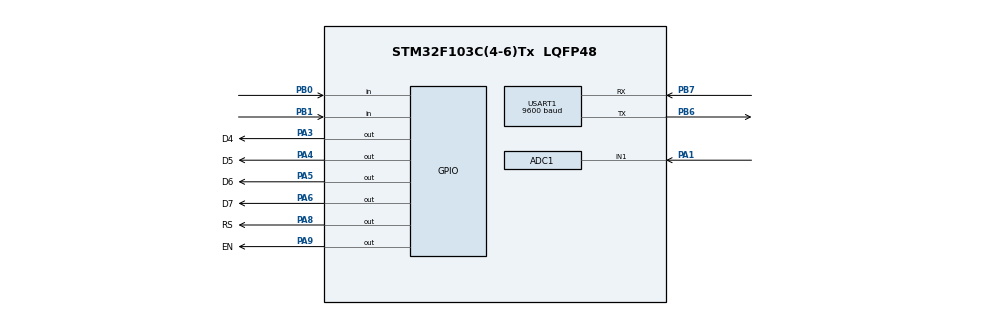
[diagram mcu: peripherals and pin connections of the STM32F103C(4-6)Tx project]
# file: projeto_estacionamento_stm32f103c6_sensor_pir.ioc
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ADC1.Channel-1\#ChannelRegularConversion=ADC_CHANNEL_1
ADC1.ContinuousConvMode=ENABLE
ADC1.NbrOfConversionFlag=1
ADC1.Rank-1\#ChannelRegularConversion=1
ADC1.SamplingTime-1\#ChannelRegularConversion=ADC_SAMPLETIME_1CYCLE_5
ADC1.master=1
Mcu.Family=STM32F1
Mcu.Name=STM32F103C(4-6)Tx
Mcu.Package=LQFP48
NVIC.PriorityGroup=NVIC_PRIORITYGROUP_4
PA1.Signal=ADCx_IN1
PA3.GPIO_Label=D4
PA3.Signal=GPIO_Output
PA4.GPIO_Label=D5
PA4.Signal=GPIO_Output
PA5.GPIO_Label=D6
PA5.Signal=GPIO_Output
PA6.GPIO_Label=D7
PA6.Signal=GPIO_Output
PA8.GPIO_Label=RS
PA8.Signal=GPIO_Output
PA9.GPIO_Label=EN
PA9.Signal=GPIO_Output
PB0.GPIO_PuPd=GPIO_NOPULL
PB0.Signal=GPIO_Input
PB1.GPIO_PuPd=GPIO_NOPULL
PB1.Signal=GPIO_Input
PB6.Mode=Asynchronous
PB6.Signal=USART1_TX
PB7.Mode=Asynchronous
PB7.Signal=USART1_RX
ProjectManager.HeapSize=0x200
ProjectManager.StackSize=0x400
ProjectManager.TargetToolchain=STM32CubeIDE
RCC.APB1Freq_Value=8000000
RCC.APB2Freq_Value=8000000
SH.ADCx_IN1.0=ADC1_IN1,IN1
USART1.BaudRate=9600
USART1.VirtualMode=VM_ASYNC
VP_SYS_VS_ND.Mode=No_Debug
board=custom

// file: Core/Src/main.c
/* USER CODE BEGIN Header */
/**
  ******************************************************************************
  * @file           : main.c
  * @brief          : Main program body
  ******************************************************************************
  * @attention
  *
  * <h2><center>&copy; Copyright (c) 2021 STMicroelectronics.
  * All rights reserved.</center></h2>
  *
  * This software component is licensed by ST under BSD 3-Clause license,
  * the "License"; You may not use this file except in compliance with the
  * License. You may obtain a copy of the License at:
  *                        opensource.org/licenses/BSD-3-Clause
  *
  ******************************************************************************
  */
/* USER CODE END Header */
#include "main.h"

/* USER CODE BEGIN Includes */

//INCLUSÃO DA BIBLIOTECA PARA UTILIZAÇÃO DO LCD 2X16
#include "lcd.h"
#include "stdio.h"

/* USER CODE END Includes */

//CRIANDO AS VARIÁVEIS PARA ACD E USART
ADC_HandleTypeDef hadc1;

UART_HandleTypeDef huart1;

void SystemClock_Config(void);
static void MX_GPIO_Init(void);
static void MX_ADC1_Init(void);
static void MX_USART1_UART_Init(void);

/* USER CODE BEGIN 0 */

// CRIANDO AS VARIÁVEIS DE TRABALHO
static int adc_buffer;
static char s_vagas[5];
static char temp[5];

/* USER CODE END 0 */

int main(void)
{

  /* MCU Configuration--------------------------------------------------------*/

  /* Reset of all peripherals, Initializes the Flash interface and the Systick. */
  HAL_Init();

  /* Configure the system clock */
  SystemClock_Config();

  /* Initialize all configured peripherals */
  MX_GPIO_Init();
  MX_ADC1_Init();
  MX_USART1_UART_Init();
  /* USER CODE BEGIN 2 */

  //INICIALIZANDO A VARIÁVEL COM O NÚMERO DE VAGAS
  int vagas = 5;

  //INICIALIZANDO O ACD
  HAL_ADC_Start(&hadc1);

  //CONFIGURADO AS GPIOs  -- GPIOA RENOMEADAS COM AS IDENTIFICAÇÕES DO LCD
  Lcd_PortType ports [] = {
		D4_GPIO_Port,
		D5_GPIO_Port,
		D6_GPIO_Port,
		D7_GPIO_Port
  };

  //CONFIGURADO OS PINOS DO LCD
  Lcd_PinType pins [] = {
		D4_Pin,
		D5_Pin,
		D6_Pin,
		D7_Pin
  };

  //CONFIGURADO OS PINOS DO LCD COM AS GPIOs
  Lcd_HandleTypeDef lcd = Lcd_create(ports, pins, RS_GPIO_Port, RS_Pin, EN_GPIO_Port, EN_Pin, LCD_4_BIT_MODE);

  //PARA IMPRIMIR NO LCD - PASSAR O ENDEREÇO DO OBJETO E A POSIÇÃO DO CURSOR
  Lcd_cursor(&lcd, 0, 0);
  Lcd_string(&lcd,"ESTACIONAMENTO");
  Lcd_cursor(&lcd, 1, 0);
  Lcd_string(&lcd,"DEDEL");
  HAL_Delay(50);
  Lcd_clear(&lcd);
  HAL_Delay(50);

  Lcd_cursor(&lcd, 0, 0);
  Lcd_string(&lcd,"SEJA");
  Lcd_cursor(&lcd, 1, 0);
  Lcd_string(&lcd,"BEM-VINDO");
  HAL_Delay(50);
  Lcd_clear(&lcd);
  HAL_Delay(50);

  /* USER CODE END 2 */

  /* Infinite loop */
  /* USER CODE BEGIN WHILE */
  while (1)
  {
	  if(((float)HAL_ADC_GetValue(&hadc1)/8.215)<=30){
		  if(vagas!=0){
			  //IMPRIMINDO O NÚMEROS DE VAGAS NO LCD
			  Lcd_cursor(&lcd, 0, 0);
			  Lcd_string(&lcd,"VAGAS");
			  Lcd_cursor(&lcd, 1, 0);
			  Lcd_string(&lcd,"DISPONIVEIS= ");
			  // Convertendo de inteiro para String
			  itoa(vagas, s_vagas, 10);
			  Lcd_cursor(&lcd, 1, 12);
			  Lcd_string(&lcd, s_vagas);
			  HAL_Delay(100);
			  Lcd_clear(&lcd);

			  //VERIFICANDO SE OCORREU ENTRADA DE VEÍCULOS
			  if(HAL_GPIO_ReadPin(GPIOB, GPIO_PIN_0)){
				  vagas--;
				  while(HAL_GPIO_ReadPin(GPIOB, GPIO_PIN_0)){
					 Lcd_cursor(&lcd, 0, 0);
					 Lcd_string(&lcd,"AGUARDE");
				 }
				 Lcd_clear(&lcd);
				 Lcd_cursor(&lcd, 0, 0);
				 Lcd_string(&lcd,"SIGA EM FRETE");
				 HAL_Delay(50);
				 Lcd_clear(&lcd);
			  }

			  //VERIFICANDO SE OCORREU SAÍDA DE VEÍCULOS
			  if(HAL_GPIO_ReadPin(GPIOB, GPIO_PIN_1)){
				  if(vagas<5){
					vagas++;
					while(HAL_GPIO_ReadPin(GPIOB, GPIO_PIN_1)){
						 Lcd_cursor(&lcd, 0, 0);
						 Lcd_string(&lcd,"AGUARDE");
					 }
					Lcd_clear(&lcd);
					Lcd_cursor(&lcd, 0, 0);
					Lcd_string(&lcd,"OBRIGADO");
					Lcd_cursor(&lcd, 1, 0);
					Lcd_string(&lcd,"VOLTE SEMPRE");
					HAL_Delay(50);
				  }
				  else{
					  Lcd_cursor(&lcd, 0, 0);
					  Lcd_string(&lcd,"DISPONIVEL");
					  HAL_Delay(100);
				  }
				  Lcd_clear(&lcd);
			  }

			  //Utilizando função HAL para coletar o valor de ACD
			  //O sensor LM35 envia valores entre 0 e 1023
			  //Portanto realizamos a conversão para o valor em graus dividindo por 8,125
			  adc_buffer = (float)HAL_ADC_GetValue(&hadc1)/8.215;

			  //ENVIADO DADOS ATRAVÉS DA USART
			  uint8_t CRLFbuff[] = " C\r\n";
			  uint8_t Tempbuff[] = "T: ";
			  HAL_UART_Transmit(&huart1, Tempbuff, 3, 0xFF);
			  HAL_UART_Transmit(&huart1, (uint8_t*)temp, sprintf(temp, "%d",adc_buffer ), 100);
			  HAL_UART_Transmit(&huart1, CRLFbuff, 3, 0xFF);

			  //IMPRIMINDO A TEMPERATURA NO LCD
			  Lcd_cursor(&lcd, 0, 0);
			  Lcd_string(&lcd,"TEMPERATURA");
			  Lcd_cursor(&lcd, 1, 0);
			  Lcd_string(&lcd,temp);
			  Lcd_cursor(&lcd, 1, 2);
			  Lcd_string(&lcd,"C");
			  HAL_Delay(50);
			  Lcd_clear(&lcd);
		  }
		  else{

			  //IMPRIMINDO A ESTACIONAMENTO LOTADO
			  Lcd_cursor(&lcd, 0, 0);
			  Lcd_string(&lcd,"ESTACIONAMENTO");
			  Lcd_cursor(&lcd, 1, 0);
			  Lcd_string(&lcd,"LOTADO");
			  HAL_Delay(50);
			  Lcd_clear(&lcd);

			  //VERIFICANDO SE OCORREU SAÍDA DE VEÍCULOS
			  if(HAL_GPIO_ReadPin(GPIOB, GPIO_PIN_1)){
				  if(vagas<5){
					vagas++;
					while(HAL_GPIO_ReadPin(GPIOB, GPIO_PIN_1)){
						 Lcd_cursor(&lcd, 0, 0);
						 Lcd_string(&lcd,"AGUARDE");
					 }
					Lcd_clear(&lcd);
					Lcd_cursor(&lcd, 0, 0);
					Lcd_string(&lcd,"OBRIGADO");
					Lcd_cursor(&lcd, 1, 0);
					Lcd_string(&lcd,"VOLTE SEMPRE");
					HAL_Delay(50);
				  }
				  else{
					  Lcd_cursor(&lcd, 0, 0);
					  Lcd_string(&lcd,"DISPONIVEL");
					  HAL_Delay(100);
				  }
				  Lcd_clear(&lcd);
			  }

		  }
	  }
	  else{
		  //IMPRIMINDO A INCENDIO
		  Lcd_cursor(&lcd, 0, 0);
		  Lcd_string(&lcd,"INCENDIO");
		  Lcd_cursor(&lcd, 1, 0);
		  Lcd_string(&lcd,"EVACUAR NOW!	");
		  HAL_Delay(50);
		  Lcd_clear(&lcd);
	  }

    /* USER CODE END WHILE */

  }
}

void SystemClock_Config(void)
{
  RCC_OscInitTypeDef RCC_OscInitStruct = {0};
  RCC_ClkInitTypeDef RCC_ClkInitStruct = {0};
  RCC_PeriphCLKInitTypeDef PeriphClkInit = {0};

  /** Initializes the RCC Oscillators according to the specified parameters
  * in the RCC_OscInitTypeDef structure.
  */
  RCC_OscInitStruct.OscillatorType = RCC_OSCILLATORTYPE_HSI;
  RCC_OscInitStruct.HSIState = RCC_HSI_ON;
  RCC_OscInitStruct.HSICalibrationValue = RCC_HSICALIBRATION_DEFAULT;
  RCC_OscInitStruct.PLL.PLLState = RCC_PLL_NONE;
  if (HAL_RCC_OscConfig(&RCC_OscInitStruct) != HAL_OK)
  {
    Error_Handler();
  }
  /** Initializes the CPU, AHB and APB buses clocks
  */
  RCC_ClkInitStruct.ClockType = RCC_CLOCKTYPE_HCLK|RCC_CLOCKTYPE_SYSCLK
                              |RCC_CLOCKTYPE_PCLK1|RCC_CLOCKTYPE_PCLK2;
  RCC_ClkInitStruct.SYSCLKSource = RCC_SYSCLKSOURCE_HSI;
  RCC_ClkInitStruct.AHBCLKDivider = RCC_SYSCLK_DIV1;
  RCC_ClkInitStruct.APB1CLKDivider = RCC_HCLK_DIV1;
  RCC_ClkInitStruct.APB2CLKDivider = RCC_HCLK_DIV1;

  if (HAL_RCC_ClockConfig(&RCC_ClkInitStruct, FLASH_LATENCY_0) != HAL_OK)
  {
    Error_Handler();
  }
  PeriphClkInit.PeriphClockSelection = RCC_PERIPHCLK_ADC;
  PeriphClkInit.AdcClockSelection = RCC_ADCPCLK2_DIV2;
  if (HAL_RCCEx_PeriphCLKConfig(&PeriphClkInit) != HAL_OK)
  {
    Error_Handler();
  }
}

static void MX_ADC1_Init(void)
{

  ADC_ChannelConfTypeDef sConfig = {0};

  /** Common config
  */
  hadc1.Instance = ADC1;
  hadc1.Init.ScanConvMode = ADC_SCAN_DISABLE;
  hadc1.Init.ContinuousConvMode = ENABLE;
  hadc1.Init.DiscontinuousConvMode = DISABLE;
  hadc1.Init.ExternalTrigConv = ADC_SOFTWARE_START;
  hadc1.Init.DataAlign = ADC_DATAALIGN_RIGHT;
  hadc1.Init.NbrOfConversion = 1;
  if (HAL_ADC_Init(&hadc1) != HAL_OK)
  {
    Error_Handler();
  }
  /** Configure Regular Channel
  */
  sConfig.Channel = ADC_CHANNEL_1;
  sConfig.Rank = ADC_REGULAR_RANK_1;
  sConfig.SamplingTime = ADC_SAMPLETIME_1CYCLE_5;
  if (HAL_ADC_ConfigChannel(&hadc1, &sConfig) != HAL_OK)
  {
    Error_Handler();
  }

}

static void MX_USART1_UART_Init(void)
{

  huart1.Instance = USART1;
  huart1.Init.BaudRate = 9600;
  huart1.Init.WordLength = UART_WORDLENGTH_8B;
  huart1.Init.StopBits = UART_STOPBITS_1;
  huart1.Init.Parity = UART_PARITY_NONE;
  huart1.Init.Mode = UART_MODE_TX_RX;
  huart1.Init.HwFlowCtl = UART_HWCONTROL_NONE;
  huart1.Init.OverSampling = UART_OVERSAMPLING_16;
  if (HAL_UART_Init(&huart1) != HAL_OK)
  {
    Error_Handler();
  }

}

static void MX_GPIO_Init(void)
{
  GPIO_InitTypeDef GPIO_InitStruct = {0};

  /* GPIO Ports Clock Enable */
  __HAL_RCC_GPIOA_CLK_ENABLE();
  __HAL_RCC_GPIOB_CLK_ENABLE();

  /*Configure GPIO pin Output Level */
  HAL_GPIO_WritePin(GPIOA, D4_Pin|D5_Pin|D6_Pin|D7_Pin
                          |RS_Pin|EN_Pin, GPIO_PIN_RESET);

  /*Configure GPIO pins : D4_Pin D5_Pin D6_Pin D7_Pin
                           RS_Pin EN_Pin */
  GPIO_InitStruct.Pin = D4_Pin|D5_Pin|D6_Pin|D7_Pin
                          |RS_Pin|EN_Pin;
  GPIO_InitStruct.Mode = GPIO_MODE_OUTPUT_PP;
  GPIO_InitStruct.Pull = GPIO_NOPULL;
  GPIO_InitStruct.Speed = GPIO_SPEED_FREQ_LOW;
  HAL_GPIO_Init(GPIOA, &GPIO_InitStruct);

  /*Configure GPIO pins : PB0 PB1 */
  GPIO_InitStruct.Pin = GPIO_PIN_0|GPIO_PIN_1;
  GPIO_InitStruct.Mode = GPIO_MODE_INPUT;
  GPIO_InitStruct.Pull = GPIO_NOPULL;
  HAL_GPIO_Init(GPIOB, &GPIO_InitStruct);

}

void Error_Handler(void)
{
  __disable_irq();
  while (1)
  {
  }
}

/************************ (C) COPYRIGHT STMicroelectronics *****END OF FILE****/
